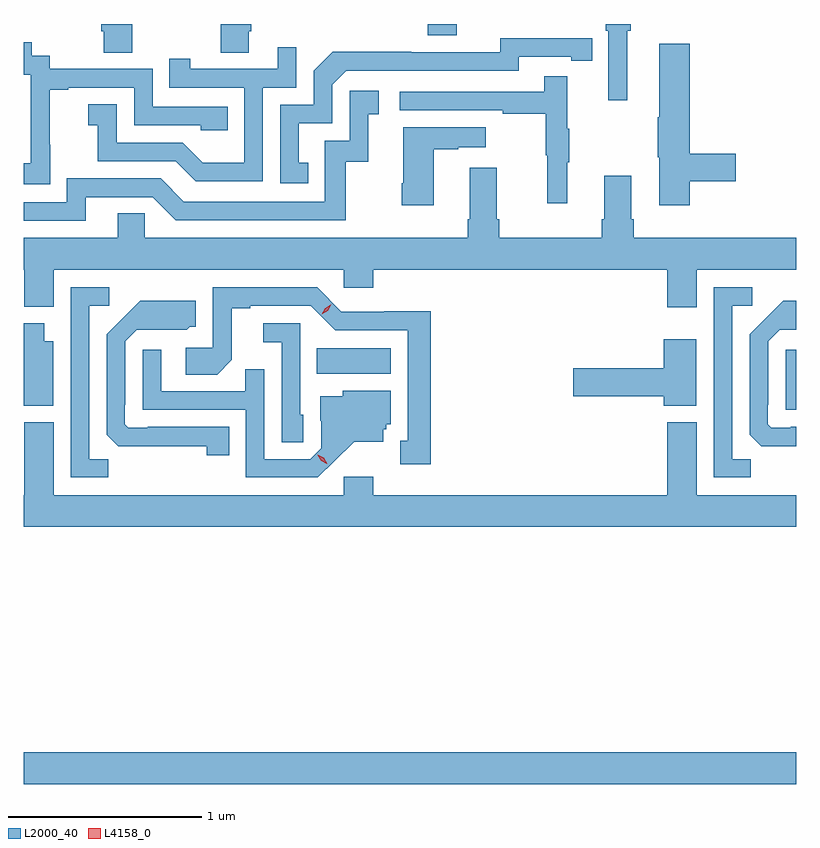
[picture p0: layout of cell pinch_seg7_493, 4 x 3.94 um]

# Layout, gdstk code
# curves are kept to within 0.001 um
import gdstk
lib = gdstk.Library(unit=1e-6, precision=1e-09)
def R(c, l, rs):  # rectangles x0, y0, x1, y1
    for r in rs: c.add(gdstk.rectangle(r[:2], r[2:], *l))
def P(c, l, *ps):  # polygons
    for p in ps: c.add(gdstk.Polygon(p, *l))
L2000_40 = (2000, 40)
L4158_0 = (4158, 0)

pinch_seg7_493 = lib.new_cell('pinch_seg7_493')
R(pinch_seg7_493, L2000_40, [(142.067,1069.88,146.067,1070.044), (146.013,1071.819,146.067,1072.129), (143.584,1072.004,143.968,1072.138), (144.158,1073.759,144.31,1073.816)])
P(pinch_seg7_493, L2000_40, [(142.629,1073.816),(142.469,1073.816),(142.469,1073.778),(142.481,1073.778),(142.481,1073.668),(142.629,1073.668)],
  [(143.233,1073.778),(143.246,1073.778),(143.246,1073.816),(143.086,1073.816),(143.086,1073.668),(143.233,1073.668)],
  [(145.192,1073.78),(145.211,1073.78),(145.211,1073.816),(145.082,1073.816),(145.082,1073.78),(145.095,1073.78),(145.095,1073.421),(145.192,1073.421)],
  [(143.54,1073.097),(143.491,1073.097),(143.491,1073.301),(143.664,1073.301),(143.664,1073.502),(143.736,1073.574),(144.63,1073.574),(144.63,1073.646),(144.902,1073.646),(144.902,1073.626),(145.01,1073.626),(145.01,1073.742),(144.534,1073.743),(144.534,1073.67),(144.074,1073.67),(144.074,1073.672),(143.666,1073.672),(143.568,1073.574),(143.568,1073.397),(143.394,1073.397),(143.394,1072.992),(143.54,1072.992)],
  [(142.203,1073.191),(142.202,1073.191),(142.202,1073.475),(142.297,1073.475),(142.297,1073.487),(142.638,1073.487),(142.638,1073.292),(142.983,1073.292),(142.983,1073.265),(143.123,1073.265),(143.123,1073.388),(142.734,1073.388),(142.734,1073.583),(142.2,1073.583),(142.2,1073.652),(142.108,1073.652),(142.108,1073.722),(142.067,1073.722),(142.067,1073.553),(142.104,1073.553),(142.104,1073.324),(142.103,1073.324),(142.103,1073.095),(142.067,1073.095),(142.067,1072.985),(142.203,1072.985)],
  [(145.517,1073.002),(145.753,1073.002),(145.753,1073.144),(145.517,1073.144),(145.517,1073.713),(145.358,1073.713),(145.358,1073.333),(145.351,1073.333),(145.351,1073.127),(145.358,1073.127),(145.358,1072.878),(145.517,1072.878)],
  [(143.304,1073.487),(143.478,1073.487),(143.478,1073.695),(143.381,1073.695),(143.381,1073.583),(142.93,1073.583),(142.93,1073.635),(142.819,1073.635),(142.819,1073.487),(143.208,1073.487),(143.208,1073.098),(142.994,1073.098),(142.89,1073.202),(142.548,1073.202),(142.548,1073.401),(142.401,1073.401),(142.401,1073.291),(142.45,1073.291),(142.45,1073.106),(142.853,1073.106),(142.958,1073.001),(143.304,1073.001)],
  [(144.881,1073.099),(144.892,1073.099),(144.892,1073.273),(144.881,1073.273),(144.881,1073.545),(144.763,1073.545),(144.763,1073.466),(144.015,1073.466),(144.015,1073.37),(144.547,1073.37),(144.547,1073.35),(144.771,1073.35),(144.771,1073.136),(144.778,1073.136),(144.778,1072.887),(144.881,1072.887)],
  [(142.387,1072.92),(142.734,1072.92),(142.854,1072.8),(143.734,1072.8),(143.734,1073.103),(143.852,1073.103),(143.852,1073.349),(143.905,1073.349),(143.905,1073.47),(143.754,1073.47),(143.754,1073.211),(143.625,1073.211),(143.625,1072.896),(142.896,1072.896),(142.776,1073.016),(142.29,1073.016),(142.29,1072.893),(142.067,1072.893),(142.067,1072.797),(142.387,1072.797)],
  [(144.19,1073.167),(144.317,1073.167),(144.317,1073.177),(144.46,1073.177),(144.46,1073.281),(144.032,1073.281),(144.032,1072.99),(144.025,1072.99),(144.025,1072.878),(144.19,1072.878)],
  [(145.552,1072.544),(146.067,1072.544),(146.067,1072.708),(145.226,1072.708),(145.226,1072.804),(145.213,1072.804),(145.213,1073.029),(145.073,1073.029),(145.073,1072.804),(145.061,1072.804),(145.061,1072.708),(144.53,1072.708),(144.53,1072.804),(144.517,1072.804),(144.517,1073.071),(144.377,1073.071),(144.377,1072.804),(144.365,1072.804),(144.365,1072.708),(142.692,1072.708),(142.692,1072.835),(142.553,1072.835),(142.553,1072.708),(142.067,1072.708),(142.067,1072.544),(142.07,1072.544),(142.07,1072.352),(142.222,1072.352),(142.222,1072.544),(143.724,1072.544),(143.724,1072.451),(143.876,1072.451),(143.876,1072.544),(145.4,1072.544),(145.4,1072.35),(145.552,1072.35)],
  [(142.503,1071.563),(142.407,1071.563),(142.407,1072.356),(142.51,1072.356),(142.51,1072.452),(142.311,1072.452),(142.311,1071.468),(142.503,1071.468)],
  [(144.175,1072.328),(143.934,1072.328),(143.934,1072.326),(143.712,1072.326),(143.586,1072.452),(143.046,1072.452),(143.046,1072.14),(142.905,1072.14),(142.905,1072),(143.069,1072),(143.145,1072.076),(143.145,1072.344),(143.239,1072.344),(143.239,1072.356),(143.553,1072.356),(143.679,1072.23),(144.056,1072.23),(144.056,1071.657),(144.017,1071.657),(144.017,1071.537),(144.175,1071.537)],
  [(145.833,1071.563),(145.737,1071.563),(145.737,1072.356),(145.84,1072.356),(145.84,1072.452),(145.641,1072.452),(145.641,1071.468),(145.833,1071.468)],
  [(143.132,1071.729),(142.708,1071.729),(142.708,1071.726),(142.608,1071.726),(142.59,1071.744),(142.59,1071.844),(142.593,1071.844),(142.593,1072.173),(142.653,1072.233),(142.91,1072.232),(142.926,1072.248),(142.957,1072.248),(142.957,1072.384),(142.669,1072.384),(142.497,1072.21),(142.497,1071.688),(142.556,1071.629),(143.014,1071.628),(143.014,1071.582),(143.132,1071.582)],
  [(146.067,1071.73),(146.038,1071.73),(146.038,1071.726),(145.938,1071.726),(145.92,1071.744),(145.92,1071.844),(145.923,1071.844),(145.923,1072.173),(145.983,1072.233),(146.067,1072.233),(146.067,1072.384),(145.999,1072.384),(145.827,1072.21),(145.827,1071.688),(145.886,1071.629),(146.067,1071.629)],
  [(142.219,1072.174),(142.174,1072.174),(142.174,1072.267),(142.067,1072.267),(142.067,1071.839),(142.219,1071.839)],
  [(143.514,1071.792),(143.499,1071.792),(143.499,1072.266),(143.307,1072.266),(143.307,1072.169),(143.403,1072.169),(143.403,1071.649),(143.514,1071.649)],
  [(145.549,1072.183),(145.382,1072.183),(145.382,1072.034),(144.912,1072.034),(144.912,1071.887),(145.382,1071.887),(145.382,1071.839),(145.549,1071.839)],
  [(143.674,1071.551),(143.777,1071.653),(143.929,1071.653),(143.929,1071.717),(143.943,1071.717),(143.943,1071.744),(143.968,1071.744),(143.968,1071.916),(143.718,1071.916),(143.718,1071.889),(143.603,1071.889),(143.603,1071.76),(143.607,1071.76),(143.607,1071.618),(143.55,1071.561),(143.313,1071.561),(143.313,1072.028),(143.215,1072.028),(143.215,1071.915),(142.779,1071.915),(142.779,1072.129),(142.683,1072.129),(142.683,1071.819),(143.217,1071.819),(143.217,1071.468),(143.59,1071.468)],
  [(146.067,1071.376),(145.552,1071.376),(145.552,1071.754),(145.4,1071.754),(145.4,1071.376),(143.876,1071.376),(143.876,1071.472),(143.724,1071.472),(143.724,1071.376),(142.222,1071.376),(142.222,1071.754),(142.07,1071.754),(142.07,1071.376),(142.067,1071.376),(142.067,1071.212),(146.067,1071.212)])
P(pinch_seg7_493, L4158_0, [(143.637,1071.539),(143.607,1071.554),(143.59,1071.583),(143.59,1071.584),(143.59,1071.584),(143.62,1071.569),(143.638,1071.539),(143.638,1071.539)],
  [(143.61,1072.313),(143.61,1072.313),(143.627,1072.345),(143.659,1072.364),(143.66,1072.364),(143.66,1072.364),(143.642,1072.331),(143.61,1072.313)])

lib.write_gds('pinch_seg7_493.gds')
